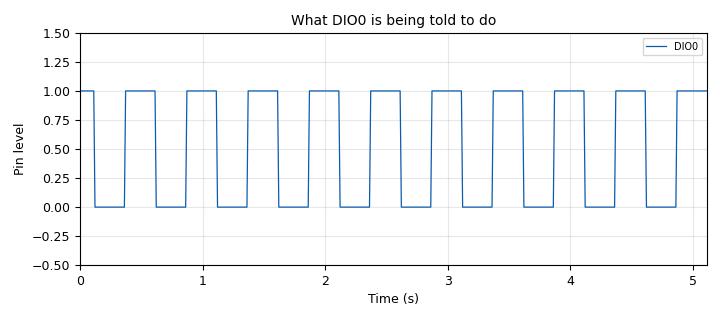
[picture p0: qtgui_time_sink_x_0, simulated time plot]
options:
  parameters:
    author: GRCon26 workshop
    comment: |-
      LED anode (long leg) to DIO0, cathode to GND. Nothing else.

      These are LEDs with the series resistor built in. A bare LED needs about 220 ohm in series, or the pin is driving a short.

      The square wave on the canvas is the pin. Every sample is one bit, and the sink hands them to DIO0 at 100 kS/s -- so the blink rate is a property of the stream, not a setting on the board.
    description: An LED on DIO0, blinking at whatever the slider says.
    generate_options: qt_gui
    id: m2k_blinky
    output_language: python
    title: M2K blinky - an LED on DIO0
  states: {}

blocks:
- name: samp_rate
  id: variable
  parameters:
    comment: The rate the DIO pin is clocked at. 100 kS/s with a 16384-sample buffer is 6 pushes a second, so the slider takes about 160 ms to show up.
    value: '100000'
  states: {}
- name: view_decim
  id: variable
  parameters:
    comment: Plain decimation, no filter. Legitimate here only because the thing being drawn is a few hertz and this still leaves 100 S/s.
    value: '1000'
  states: {}
- name: blink_hz
  id: variable_qtgui_range
  parameters:
    label: Blink rate (Hz)
    start: '0.5'
    step: '0.5'
    stop: '10'
    value: '2'
  states: {}
- name: analog_sig_source_x_0
  id: analog_sig_source_x
  parameters:
    amp: '1'
    comment: GNU Radio's square wave is already 0 to amplitude, not plus and minus it. So amplitude 1 is literally the two values the pin wants.
    freq: blink_hz
    offset: '0'
    phase: '0'
    samp_rate: samp_rate
    type: float
    waveform: analog.GR_SQR_WAVE
  states: {}
- name: blocks_float_to_short_0
  id: blocks_float_to_short
  parameters:
    comment: Scale 1, so 0.0 and 1.0 arrive as 0 and 1. The sink wants one bit per sample in a short, not a packed word.
    scale: '1'
  states: {}
- name: m2k_digital_sink_0
  id: m2k_digital_sink
  parameters:
    buffer_size: '16384'
    comment: Idle low, so the LED is dark when the flowgraph is stopped rather than stuck on.
    cyclic: 'False'
    drive: '''push-pull'''
    idle_level: '''low'''
    name0: LED
    name1: ''
    name10: ''
    name11: ''
    name12: ''
    name13: ''
    name14: ''
    name15: ''
    name2: ''
    name3: ''
    name4: ''
    name5: ''
    name6: ''
    name7: ''
    name8: ''
    name9: ''
    num_lines: '1'
    pin0: '0'
    pin1: '1'
    pin10: '10'
    pin11: '11'
    pin12: '12'
    pin13: '13'
    pin14: '14'
    pin15: '15'
    pin2: '2'
    pin3: '3'
    pin4: '4'
    pin5: '5'
    pin6: '6'
    pin7: '7'
    pin8: '8'
    pin9: '9'
    sample_rate: '100000'
    uri: ip:192.168.2.1
  states: {}
- name: blocks_short_to_float_0
  id: blocks_short_to_float
  parameters:
    comment: The scope leg watches exactly what the sink is given, so the trace and the pin cannot disagree.
    scale: '1'
  states: {}
- name: blocks_keep_one_in_n_0
  id: blocks_keep_one_in_n
  parameters:
    n: view_decim
    type: float
  states: {}
- name: qtgui_time_sink_x_0
  id: qtgui_time_sink_x
  parameters:
    grid: 'True'
    label1: DIO0
    name: '"What DIO0 is being told to do"'
    size: '512'
    srate: samp_rate/view_decim
    type: float
    ylabel: Pin level
    ymax: '1.5'
    ymin: '-0.5'
  states: {}

connections:
- [analog_sig_source_x_0, '0', blocks_float_to_short_0, '0']
- [blocks_float_to_short_0, '0', m2k_digital_sink_0, '0']
- [blocks_float_to_short_0, '0', blocks_short_to_float_0, '0']
- [blocks_short_to_float_0, '0', blocks_keep_one_in_n_0, '0']
- [blocks_keep_one_in_n_0, '0', qtgui_time_sink_x_0, '0']

metadata:
  file_format: 1
  grc_version: 3.10.9.2
